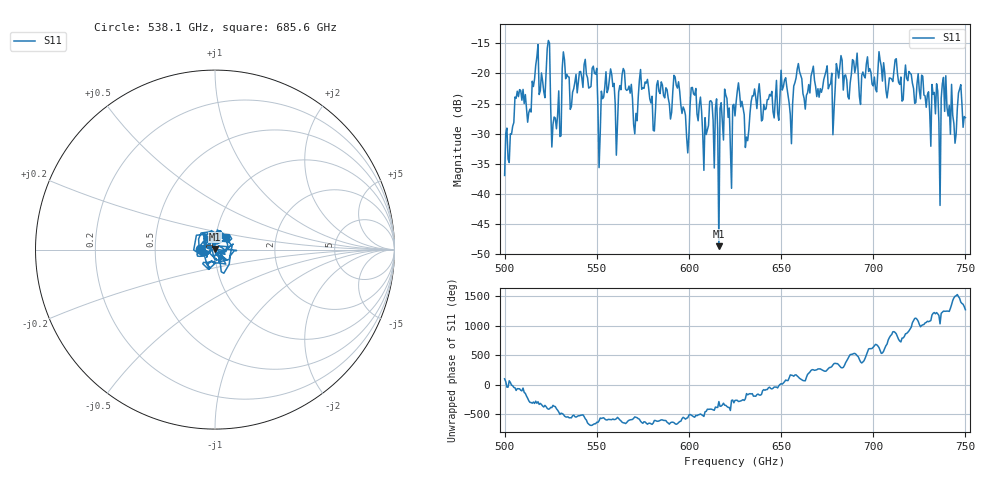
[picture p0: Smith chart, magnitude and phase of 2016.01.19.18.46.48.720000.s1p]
!Created with skrf (http://scikit-rf.org).
# GHz S RI R 50.0
!freq ReS11 ImS11
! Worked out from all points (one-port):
!   401 points, 500 GHz to 750 GHz, reference 50 ohm
!   lowest |S11| = -48.6 dB at 616.2 GHz (marker M1), VSWR 1.01, Z = 50.1 + j0.355 ohm
!   |S11| at or under -10 dB: start of sweep to end of sweep
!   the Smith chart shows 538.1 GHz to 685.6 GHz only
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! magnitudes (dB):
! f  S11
! 500 GHz  -36.9
! 506.9 GHz  -22.9
! 513.1 GHz  -26.5
! 516.9 GHz  -18.7
! 523.8 GHz  -14.5
! 526.9 GHz  -27.2
! 531.2 GHz  -19.2
! 548.8 GHz  -20.0
! 551.9 GHz  -30.0
! 556.2 GHz  -22.5
! 562.5 GHz  -22.0
! 570.6 GHz  -30.0
! 574.4 GHz  -22.6
! 580.6 GHz  -29.4
! 593.8 GHz  -22.4
! 598.8 GHz  -30.5
! 602.5 GHz  -23.4
! 616.2 GHz  -48.6
! 625 GHz  -27.0
! 631.2 GHz  -30.5
! 635 GHz  -23.7
! 656.2 GHz  -25.1
! 659.4 GHz  -18.4
! 687.5 GHz  -21.5
! 718.8 GHz  -21.2
! 735 GHz  -22.9
! 738.1 GHz  -20.6
! 750 GHz  -27.3
